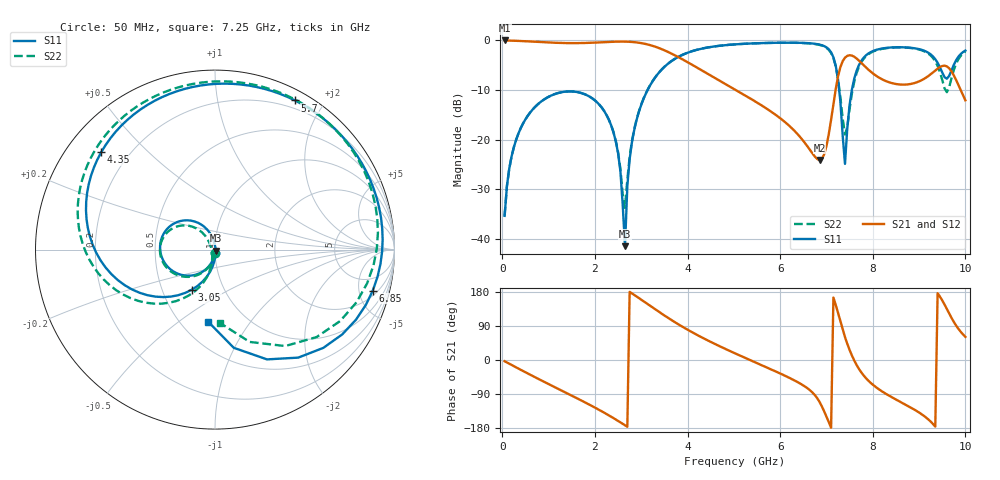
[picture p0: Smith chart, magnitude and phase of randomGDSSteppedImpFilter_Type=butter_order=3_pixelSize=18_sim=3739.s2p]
! freq	dB(S11)	phase(S11)	dB(S12)	phase(S12)
!  dB(S21)	phase(S21)	dB(S22)	phase(S22)
!S-par simulation data
#  GHz  S  DB  R 50
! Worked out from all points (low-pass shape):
!   200 points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, 50 MHz to 10 GHz, reference 50 ohm
!   highest |S21| = 0.00 dB at 50 MHz (marker M1); lowest = -24.1 dB at 6.85 GHz (marker M2)
!   |S21| within 3 dB of the highest: start of sweep to 3.729 GHz; 7.488414 GHz to 7.519164 GHz (30.75 MHz wide, 0.41 % of centre)
!   lowest |S11| = -41.4 dB at 2.65 GHz (marker M3), VSWR 1.02, Z = 50.7 - j0.532 ohm
!   |S11| at or under -10 dB: start of sweep to 3.137 GHz; 7.274 GHz to 7.548 GHz (273.5 MHz wide, 3.69 % of centre)
!   |S22| runs from -35.3 to -0.5 dB; largest |S21 - S12| = 0
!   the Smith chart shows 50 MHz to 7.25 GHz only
!   S11 on the Smith chart (normalised r, x): 50 MHz: 1.00, -0.03; 3.05 GHz: 0.70, -0.34; 4.35 GHz: 0.10, +0.37; 5.7 GHz: 0.11, +1.66; 6.85 GHz: 2.61, -6.83; 7.25 GHz: 0.68, -0.65
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0.05  -35.32 -93.2  -0.00 -3.3  -0.00 -3.3  -35.32 -93.0
0.2  -23.37 -103.6  -0.04 -13.1  -0.04 -13.1  -23.37 -103.0
0.5  -15.88 -123.8  -0.16 -32.4  -0.16 -32.4  -15.88 -122.1
1.75  -10.73 156.8  -0.52 -109.5  -0.52 -109.5  -10.73 163.9
2.4  -18.48 111.2  -0.27 -153.2  -0.27 -153.2  -18.43 127.0
2.55  -26.31 98.0  -0.23 -164.5  -0.23 -164.5  -25.84 128.7
2.65  -41.42 -38.2  -0.24 -172.2  -0.24 -172.2  -33.72 -152.7
2.75  -23.89 -93.1  -0.27 179.8  -0.27 179.8  -23.43 -104.1
3.05  -11.76 -120.0  -0.62 155.0  -0.62 155.0  -11.70 -116.1
3.4  -6.30 -150.2  -1.59 125.6  -1.59 125.6  -6.27 -142.5
4.35  -1.57 139.5  -6.25 57.0  -6.25 57.0  -1.56 152.5
5.05  -0.78 97.8  -10.03 16.2  -10.03 16.2  -0.77 113.5
5.7  -0.51 61.8  -13.68 -19.0  -13.68 -19.0  -0.51 79.2
6.7  -0.62 -0.6  -22.78 -86.1  -22.78 -86.1  -0.66 15.5
6.85  -0.84 -14.6  -24.09 -110.5  -24.09 -110.5  -0.90 0.4
7.25  -7.87 -95.3  -7.26 124.1  -7.26 124.1  -7.79 -86.4
7.4  -24.86 139.6  -3.48 60.4  -3.48 60.4  -18.94 -161.1
7.65  -6.14 48.0  -3.63 -12.9  -3.63 -12.9  -6.58 83.6
8.35  -1.45 -18.5  -8.41 -94.0  -8.41 -94.0  -1.50 4.1
9.45  -5.41 -78.0  -5.37 167.3  -5.37 167.3  -6.35 -67.6
9.7  -6.04 -46.7  -6.22 111.3  -6.22 111.3  -7.59 -19.7
10  -2.05 -59.2  -12.06 61.1  -12.06 61.1  -2.25 -36.7
